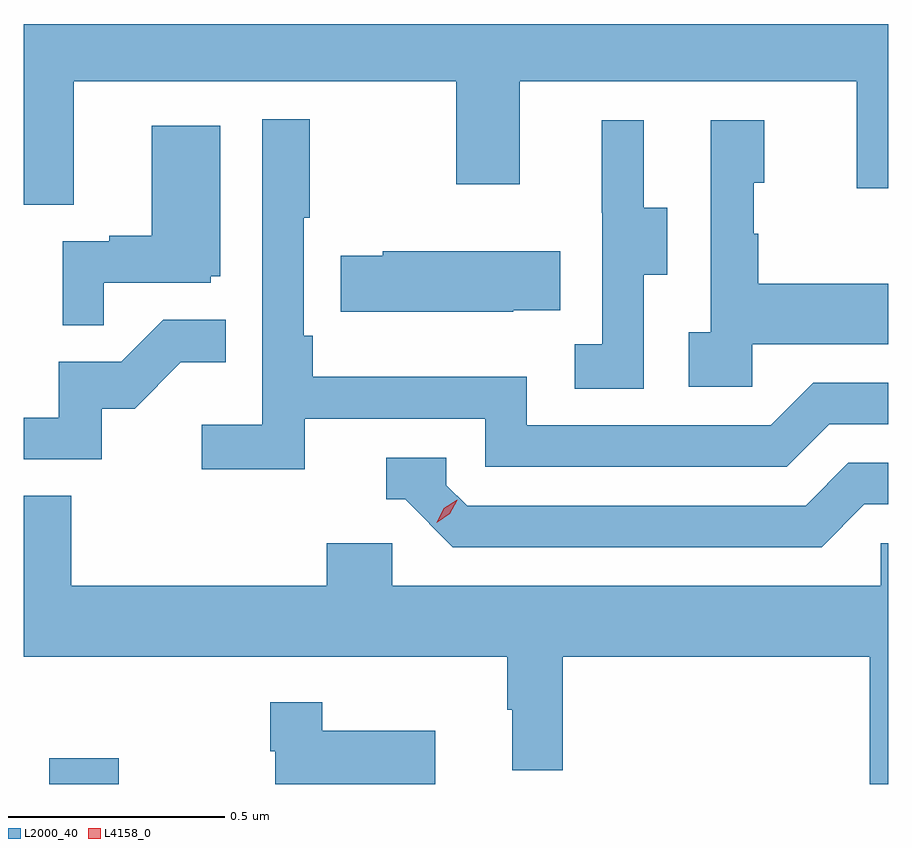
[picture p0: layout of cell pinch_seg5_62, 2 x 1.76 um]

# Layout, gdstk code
import gdstk
lib = gdstk.Library(unit=1e-6, precision=1e-09)
def R(c, l, rs):  # rectangles x0, y0, x1, y1
    for r in rs: c.add(gdstk.rectangle(r[:2], r[2:], *l))
def P(c, l, *ps):  # polygons
    for p in ps: c.add(gdstk.Polygon(p, *l))
L2000_40 = (2000, 40)
L4158_0 = (4158, 0)

pinch_seg5_62 = lib.new_cell('pinch_seg5_62')
R(pinch_seg5_62, L2000_40, [(1014.257,913.741,1014.418,913.801)])
P(pinch_seg5_62, L2000_40, [(1014.313,915.368),(1015.198,915.368),(1015.198,915.129),(1015.345,915.129),(1015.345,915.368),(1016.126,915.368),(1016.126,915.12),(1016.198,915.12),(1016.198,915.5),(1014.198,915.5),(1014.198,915.082),(1014.313,915.082)],
  [(1014.848,914.586),(1015.266,914.586),(1015.266,914.475),(1015.963,914.475),(1016.062,914.574),(1016.198,914.574),(1016.198,914.67),(1016.025,914.67),(1015.926,914.571),(1015.362,914.571),(1015.362,914.683),(1014.866,914.683),(1014.866,914.779),(1014.846,914.779),(1014.846,915.052),(1014.859,915.052),(1014.859,915.28),(1014.75,915.28),(1014.75,914.572),(1014.609,914.572),(1014.609,914.47),(1014.848,914.47)],
  [(1015.884,914.759),(1016.198,914.759),(1016.198,914.899),(1015.897,914.899),(1015.897,915.014),(1015.887,915.014),(1015.887,915.132),(1015.912,915.132),(1015.912,915.277),(1015.788,915.277),(1015.788,914.786),(1015.737,914.786),(1015.737,914.661),(1015.884,914.661)],
  [(1015.632,914.92),(1015.687,914.92),(1015.687,915.075),(1015.633,915.075),(1015.633,915.277),(1015.535,915.277),(1015.535,915.063),(1015.536,915.063),(1015.536,914.759),(1015.473,914.759),(1015.473,914.656),(1015.632,914.656)],
  [(1014.383,914.901),(1014.63,914.901),(1014.63,914.916),(1014.652,914.916),(1014.652,915.265),(1014.494,915.265),(1014.494,915.01),(1014.395,915.01),(1014.395,914.997),(1014.288,914.997),(1014.288,914.803),(1014.383,914.803)],
  [(1015.331,914.837),(1015.439,914.837),(1015.439,914.974),(1015.029,914.974),(1015.029,914.964),(1014.931,914.964),(1014.931,914.834),(1015.331,914.834)],
  [(1014.378,914.61),(1014.454,914.61),(1014.561,914.717),(1014.665,914.717),(1014.665,914.816),(1014.521,914.816),(1014.423,914.718),(1014.279,914.718),(1014.279,914.589),(1014.198,914.589),(1014.198,914.493),(1014.378,914.493)],
  [(1016.143,914.388),(1016.198,914.388),(1016.198,914.484),(1016.106,914.484),(1016.007,914.385),(1015.224,914.385),(1015.176,914.433),(1015.176,914.496),(1015.037,914.496),(1015.037,914.4),(1015.08,914.4),(1015.191,914.289),(1016.044,914.289)],
  [(1016.198,914.298),(1016.181,914.298),(1016.181,914.2),(1015.05,914.2),(1015.05,914.298),(1014.899,914.298),(1014.899,914.2),(1014.308,914.2),(1014.308,914.408),(1014.198,914.408),(1014.198,914.036),(1015.317,914.036),(1015.317,913.913),(1015.328,913.913),(1015.328,913.773),(1015.445,913.773),(1015.445,914.036),(1016.156,914.036),(1016.156,913.741),(1016.198,913.741)],
  [(1015.15,913.864),(1014.889,913.864),(1014.889,913.93),(1014.768,913.93),(1014.768,913.817),(1014.78,913.817),(1014.78,913.741),(1015.15,913.741)])
P(pinch_seg5_62, L4158_0, [(1015.153,914.346),(1015.153,914.347),(1015.17,914.379),(1015.201,914.399),(1015.201,914.399),(1015.201,914.398),(1015.184,914.366),(1015.153,914.346)])

lib.write_gds('pinch_seg5_62.gds')
